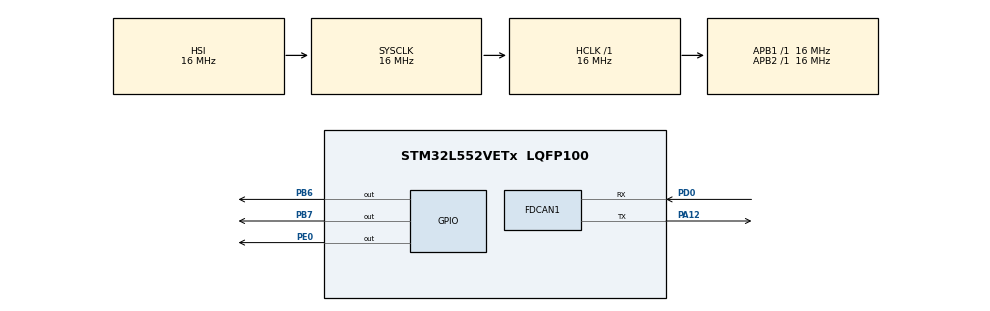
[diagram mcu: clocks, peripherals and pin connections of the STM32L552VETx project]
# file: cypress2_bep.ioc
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FDCAN1.DataSyncJumpWidth=8
FDCAN1.DataTimeSeg1=20
FDCAN1.FrameFormat=FDCAN_FRAME_FD_BRS
FDCAN1.Mode=FDCAN_MODE_EXTERNAL_LOOPBACK
FDCAN1.NominalPrescaler=2
FDCAN1.NominalSyncJumpWidth=8
FDCAN1.NominalTimeSeg1=20
FDCAN1.NominalTimeSeg2=20
FREERTOS.BinarySemaphores01=CanRXSem,Dynamic,NULL
FREERTOS.Tasks01=defaultTask,24,128,StartDefaultTask,Default,NULL,Dynamic,NULL,NULL
FREERTOS.Timers01=CanTimer,CanTimerFunc,osTimerPeriodic,Default,NULL,Dynamic,NULL
FREERTOS.configENABLE_FPU=1
FREERTOS.configUSE_IDLE_HOOK=1
FREERTOS.configUSE_TICK_HOOK=1
Mcu.Family=STM32L5
Mcu.Name=STM32L552VETx
Mcu.Package=LQFP100
NVIC.FDCAN1_IT0_IRQn=true\:0\:0\:false\:false\:true\:false\:true\:true
NVIC.FDCAN1_IT1_IRQn=true\:0\:0\:false\:false\:true\:false\:true\:true
NVIC.PriorityGroup=NVIC_PRIORITYGROUP_3
NVIC.TIM3_IRQn=true\:0\:0\:false\:false\:true\:true\:true\:true
PA12.Mode=FDCANFD
PA12.Signal=FDCAN1_TX
PA13\ (JTMS/SWDIO).Mode=Trace_Asynchronous_SW
PA13\ (JTMS/SWDIO).Signal=DEBUG_JTMS-SWDIO
PA14\ (JTCK/SWCLK).Mode=Trace_Asynchronous_SW
PA14\ (JTCK/SWCLK).Signal=DEBUG_JTCK-SWCLK
PB3\ (JTDO/TRACESWO).Mode=Trace_Asynchronous_SW
PB3\ (JTDO/TRACESWO).Signal=DEBUG_JTDO-SWO
PB6.Signal=GPIO_Output
PB7.Signal=GPIO_Output
PD0.Mode=FDCANFD
PD0.Signal=FDCAN1_RX
PE0.Signal=GPIO_Output
PH0-OSC_IN\ (PH0).Mode=HSE-External-Oscillator
PH0-OSC_IN\ (PH0).Signal=RCC_OSC_IN
PH1-OSC_OUT\ (PH1).Mode=HSE-External-Oscillator
PH1-OSC_OUT\ (PH1).Signal=RCC_OSC_OUT
ProjectManager.HeapSize=0x200
ProjectManager.StackSize=0x400
ProjectManager.TargetToolchain=STM32CubeIDE
RCC.ADCFreq_Value=96000000
RCC.AHBFreq_Value=16000000
RCC.APB1Freq_Value=16000000
RCC.APB1TimFreq_Value=16000000
RCC.APB2Freq_Value=16000000
RCC.APB2TimFreq_Value=16000000
RCC.CortexFreq_Value=16000000
RCC.HCLKFreq_Value=16000000
RCC.HSE_VALUE=24000000
RCC.HSI48_VALUE=48000000
RCC.HSI_VALUE=16000000
RCC.LSE_VALUE=32768
RCC.MSI_VALUE=4000000
RCC.PLLM=2
RCC.PLLQ=RCC_PLLQ_DIV4
RCC.PLLSAI1Source=RCC_PLLSAI1SOURCE_HSE
RCC.PLLSAI2Source=RCC_PLLSAI2SOURCE_HSE
RCC.PLLSourceVirtual=RCC_PLLSOURCE_HSI
RCC.SYSCLKFreq_VALUE=16000000
RCC.SYSCLKSource=RCC_SYSCLKSOURCE_HSI
RCC.USBFreq_Value=96000000
RCC.VCOOutputFreq_Value=64000000
VP_FREERTOS_VS_CMSIS_V2.Mode=CMSIS_V2
VP_PWR_VS_DBSignals.Mode=DisableDeadBatterySignals
VP_TIM3_VS_ClockSourceINT.Mode=Internal
VP_TIM3_VS_ClockSourceITR.Mode=TriggerSource_ITR0
board=custom

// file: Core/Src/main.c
/* USER CODE BEGIN Header */
/**
  ******************************************************************************
  * @file           : main.c
  * @brief          : Main program body
  ******************************************************************************
  * @attention
  *
  * <h2><center>&copy; Copyright (c) 2020 STMicroelectronics.
  * All rights reserved.</center></h2>
  *
  * This software component is licensed by ST under BSD 3-Clause license,
  * the "License"; You may not use this file except in compliance with the
  * License. You may obtain a copy of the License at:
  *                        opensource.org/licenses/BSD-3-Clause
  *
  ******************************************************************************
  */
/* USER CODE END Header */
#include <stdio.h>
#include "main.h"
#include "cmsis_os.h"
//#define CAN_TIMER

/* USER CODE BEGIN PM */
int _write(int32_t file, uint8_t *ptr, int32_t len)
{
	for (int i = 0; i < len; i++)
	{
		ITM_SendChar(*ptr++);
	}
	return len;
}
/* USER CODE END PM */

FDCAN_HandleTypeDef hfdcan1;

TIM_HandleTypeDef htim3;

FDCAN_TxHeaderTypeDef txHeader;
uint8_t txData[8] = { 0 };

/* Definitions for defaultTask */

/* Definitions for CanTimer */
osTimerId_t CanTimerHandle;
const osTimerAttr_t CanTimer_attributes = {
  .name = "CanTimer"
};

/* Definitions for CanTXSem */
osSemaphoreId_t CanTXSemHandle;
const osSemaphoreAttr_t CanTXSem_attributes = {
  .name = "CanTXSem"
};

/* Definitions for CanRXSem */
osSemaphoreId_t CanRXSemHandle;
const osSemaphoreAttr_t CanRXSem_attributes = {
  .name = "CanRXSem"
};
/* USER CODE BEGIN PV */
osThreadId_t cypress2TaskHandle;
const osThreadAttr_t cypress2Task_attributes = {
  .name = "cypress2Task",
  .priority = (osPriority_t) osPriorityNormal1,
  .stack_size = 128 * 5
};

osThreadId_t ateCmdsTaskHandle;
const osThreadAttr_t ateCmdsTask_attributes = {
  .name = "ateCmdsTask",
  .priority = (osPriority_t) osPriorityNormal,
  .stack_size = 128 * 5
};
/* USER CODE END PV */

void SystemClock_Config(void);
static void MX_GPIO_Init(void);
static void MX_FDCAN1_Init(void);
#ifdef HW_TIMER
static void MX_TIM3_Init(void);
#endif
void StartDefaultTask(void *argument);
void CanTimerFunc(void *argument);

/* USER CODE BEGIN 0 */
void Cypress2Task(void *argument);
void ATECmdsTask(void *argument);

/* USER CODE END 0 */

int main(void)
{

  /* MCU Configuration--------------------------------------------------------*/

  /* Reset of all peripherals, Initializes the Flash interface and the Systick. */
  HAL_Init();

  /* Configure the system clock */
  SystemClock_Config();

  /* Initialize all configured peripherals */
  MX_GPIO_Init();
  MX_FDCAN1_Init();
#ifdef HW_TIMER
  MX_TIM3_Init();
#endif
  /* USER CODE BEGIN 2 */
//  printf("Init completed.\n");
  /* USER CODE END 2 */

  /* Init scheduler */
  osKernelInitialize();

  /* Create the semaphores(s) */
  /* creation of CanRXSem */
  CanRXSemHandle = osSemaphoreNew(1, 0, &CanRXSem_attributes);
  /* creation of CanRXSem */
  CanTXSemHandle = osSemaphoreNew(1, 0, &CanTXSem_attributes);

  /* Create the timer(s) */
  /* creation of CanTimer */
#ifdef SW_TIMER
  CanTimerHandle = osTimerNew(CanTimerFunc, osTimerPeriodic, NULL, &CanTimer_attributes);
#endif

  /* Create the thread(s) */
  /* creation of defaultTask */

  /* USER CODE BEGIN RTOS_THREADS */
  /* add threads, ... */
  cypress2TaskHandle = osThreadNew(Cypress2Task, NULL, &cypress2Task_attributes);
  ateCmdsTaskHandle = osThreadNew(ATECmdsTask, NULL, &ateCmdsTask_attributes);
  /* USER CODE END RTOS_THREADS */

  /* Start scheduler */
  osKernelStart();

  /* We should never get here as control is now taken by the scheduler */
  /* Infinite loop */
  while (1)
  {

  }
}

void SystemClock_Config(void)
{
  RCC_OscInitTypeDef RCC_OscInitStruct = {0};
  RCC_ClkInitTypeDef RCC_ClkInitStruct = {0};

  /** Configure the main internal regulator output voltage
  */
  if (HAL_PWREx_ControlVoltageScaling(PWR_REGULATOR_VOLTAGE_SCALE2) != HAL_OK)
  {
    Error_Handler();
  }
  /** Initializes the RCC Oscillators according to the specified parameters
  * in the RCC_OscInitTypeDef structure.
  */
  RCC_OscInitStruct.OscillatorType = RCC_OSCILLATORTYPE_HSI;
  RCC_OscInitStruct.HSIState = RCC_HSI_ON;
  RCC_OscInitStruct.HSICalibrationValue = RCC_HSICALIBRATION_DEFAULT;
  RCC_OscInitStruct.PLL.PLLState = RCC_PLL_ON;
  RCC_OscInitStruct.PLL.PLLSource = RCC_PLLSOURCE_HSI;
  RCC_OscInitStruct.PLL.PLLM = 2;
  RCC_OscInitStruct.PLL.PLLN = 8;
  RCC_OscInitStruct.PLL.PLLP = RCC_PLLP_DIV7;
  RCC_OscInitStruct.PLL.PLLQ = RCC_PLLQ_DIV8;
  RCC_OscInitStruct.PLL.PLLR = RCC_PLLR_DIV2;
  if (HAL_RCC_OscConfig(&RCC_OscInitStruct) != HAL_OK)
  {
    Error_Handler();
  }
  /** Initializes the CPU, AHB and APB buses clocks
  */
  RCC_ClkInitStruct.ClockType = RCC_CLOCKTYPE_HCLK|RCC_CLOCKTYPE_SYSCLK
                              |RCC_CLOCKTYPE_PCLK1|RCC_CLOCKTYPE_PCLK2;
  RCC_ClkInitStruct.SYSCLKSource = RCC_SYSCLKSOURCE_HSI;
  RCC_ClkInitStruct.AHBCLKDivider = RCC_SYSCLK_DIV1;
  RCC_ClkInitStruct.APB1CLKDivider = RCC_HCLK_DIV1;
  RCC_ClkInitStruct.APB2CLKDivider = RCC_HCLK_DIV1;

  if (HAL_RCC_ClockConfig(&RCC_ClkInitStruct, FLASH_LATENCY_1) != HAL_OK)
  {
    Error_Handler();
  }
}

static void MX_FDCAN1_Init(void)
{

  hfdcan1.Instance = FDCAN1;
  hfdcan1.Init.FrameFormat = FDCAN_FRAME_CLASSIC;
  hfdcan1.Init.Mode = FDCAN_MODE_NORMAL;
  hfdcan1.Init.AutoRetransmission = DISABLE;
  hfdcan1.Init.TransmitPause = DISABLE;
  hfdcan1.Init.ProtocolException = DISABLE;
  hfdcan1.Init.NominalPrescaler = 4;
  hfdcan1.Init.NominalSyncJumpWidth = 1;
  hfdcan1.Init.NominalTimeSeg1 = 4;
  hfdcan1.Init.NominalTimeSeg2 = 3;
  hfdcan1.Init.DataPrescaler = 32;
  hfdcan1.Init.DataSyncJumpWidth = 0;
  hfdcan1.Init.DataTimeSeg1 = 0;
  hfdcan1.Init.DataTimeSeg2 = 0;
  hfdcan1.Init.StdFiltersNbr = 0;
  hfdcan1.Init.ExtFiltersNbr = 0;
  hfdcan1.Init.TxFifoQueueMode = FDCAN_TX_FIFO_OPERATION;
  if (HAL_FDCAN_Init(&hfdcan1) != HAL_OK)
  {
    Error_Handler();
  }
  /* USER CODE BEGIN FDCAN1_Init 2 */
	HAL_FDCAN_ConfigInterruptLines(&hfdcan1, 0xFFFFFFFF, FDCAN_INTERRUPT_LINE1);

    if (HAL_FDCAN_ActivateNotification(&hfdcan1, 0x3FFFFFFF, 0) != HAL_OK) {
	//if (HAL_FDCAN_ActivateNotification(&hfdcan1, FDCAN_IT_GROUP_RX_FIFO0 |
  	//	  FDCAN_IT_GROUP_TX_FIFO_ERROR | FDCAN_IT_GROUP_SMSG, 0) != HAL_OK) {
		/* Notification Error */
		Error_Handler();
	}
  if (HAL_FDCAN_Start(&hfdcan1) != HAL_OK) {
  		Error_Handler();
  }
  /* USER CODE END FDCAN1_Init 2 */

}

#ifdef HW_TIMER
static void MX_TIM3_Init(void)
{

  TIM_ClockConfigTypeDef sClockSourceConfig = {0};
  TIM_SlaveConfigTypeDef sSlaveConfig = {0};
  TIM_MasterConfigTypeDef sMasterConfig = {0};

  htim3.Instance = TIM3;
  htim3.Init.Prescaler = 24 * 100;
  htim3.Init.CounterMode = TIM_COUNTERMODE_UP;
  htim3.Init.Period = 10000;
  htim3.Init.ClockDivision = TIM_CLOCKDIVISION_DIV1;
  htim3.Init.AutoReloadPreload = TIM_AUTORELOAD_PRELOAD_DISABLE;
  if (HAL_TIM_Base_Init(&htim3) != HAL_OK)
  {
    Error_Handler();
  }
  sClockSourceConfig.ClockSource = TIM_CLOCKSOURCE_INTERNAL;
  if (HAL_TIM_ConfigClockSource(&htim3, &sClockSourceConfig) != HAL_OK)
  {
    Error_Handler();
  }
  sSlaveConfig.SlaveMode = TIM_SLAVEMODE_DISABLE;
  sSlaveConfig.InputTrigger = TIM_TS_ITR0;
  if (HAL_TIM_SlaveConfigSynchro(&htim3, &sSlaveConfig) != HAL_OK)
  {
    Error_Handler();
  }
  sMasterConfig.MasterOutputTrigger = TIM_TRGO_RESET;
  sMasterConfig.MasterSlaveMode = TIM_MASTERSLAVEMODE_DISABLE;
  if (HAL_TIMEx_MasterConfigSynchronization(&htim3, &sMasterConfig) != HAL_OK)
  {
    Error_Handler();
  }
  /* USER CODE BEGIN TIM3_Init 2 */
	if (HAL_TIM_Base_Start_IT(&htim3) != HAL_OK) {
		Error_Handler();
	}
  /* USER CODE END TIM3_Init 2 */

}
#endif
static void MX_GPIO_Init(void)
{
  GPIO_InitTypeDef GPIO_InitStruct = {0};

  /* GPIO Ports Clock Enable */
  __HAL_RCC_GPIOH_CLK_ENABLE();
  __HAL_RCC_GPIOA_CLK_ENABLE();
  __HAL_RCC_GPIOD_CLK_ENABLE();
  __HAL_RCC_GPIOB_CLK_ENABLE();
  __HAL_RCC_GPIOE_CLK_ENABLE();

  /*Configure GPIO pin Output Level */
  HAL_GPIO_WritePin(GPIOB, GPIO_PIN_6|GPIO_PIN_7, GPIO_PIN_SET);

  /*Configure GPIO pin Output Level */
  HAL_GPIO_WritePin(GPIOE, GPIO_PIN_0, GPIO_PIN_SET);

  /*Configure GPIO pins : PB6 PB7 */
  GPIO_InitStruct.Pin = GPIO_PIN_6|GPIO_PIN_7;
  GPIO_InitStruct.Mode = GPIO_MODE_OUTPUT_PP;
  GPIO_InitStruct.Pull = GPIO_NOPULL;
  GPIO_InitStruct.Speed = GPIO_SPEED_FREQ_LOW;
  HAL_GPIO_Init(GPIOB, &GPIO_InitStruct);

  /*Configure GPIO pin : PE0 */
  GPIO_InitStruct.Pin = GPIO_PIN_0;
  GPIO_InitStruct.Mode = GPIO_MODE_OUTPUT_PP;
  GPIO_InitStruct.Pull = GPIO_NOPULL;
  GPIO_InitStruct.Speed = GPIO_SPEED_FREQ_LOW;
  HAL_GPIO_Init(GPIOE, &GPIO_InitStruct);

}

/* USER CODE BEGIN 4 */
#if 0
void StartDefaultTask(void *argument)
{
  /* USER CODE BEGIN 5 */
  /* Infinite loop */
  for(;;)
  {
    osDelay(1);
  }
  /* USER CODE END 5 */
}
#endif
/* USER CODE END 4 */

void Cypress2Task(void *argument)
{
  /* USER CODE BEGIN 5 */
  /* Infinite loop */
	txHeader.Identifier = 0x123;
	txHeader.IdType = FDCAN_STANDARD_ID;
	txHeader.TxFrameType = FDCAN_DATA_FRAME;
	txHeader.DataLength = FDCAN_DLC_BYTES_8;
	txHeader.ErrorStateIndicator = FDCAN_ESI_ACTIVE;
	txHeader.BitRateSwitch = FDCAN_BRS_OFF;
	txHeader.FDFormat = FDCAN_CLASSIC_CAN;
	txHeader.TxEventFifoControl = FDCAN_NO_TX_EVENTS;
	txHeader.MessageMarker = 0;
#ifdef SW_TIMER
	osTimerStart(CanTimerHandle,pdMS_TO_TICKS(1000));
#endif
#if defined SW_TIMER || defined HW_TIMER
	uint32_t id = 0;
#endif
	for (;;) {
#if defined SW_TIMER || defined HW_TIMER
		if (osSemaphoreAcquire(CanTXSemHandle, pdMS_TO_TICKS(2500)) == osOK) {
			txData[0] = id++;
//			HAL_FDCAN_AddMessageToTxFifoQ(&hfdcan1, &txHeader, txData);
		}
#endif
		osDelay(10);
	}

  /* USER CODE END 5 */
}

#ifndef CAN_POLLING
void HAL_FDCAN_TxEventFifoCallback(FDCAN_HandleTypeDef *hfdcan, uint32_t TxEventFifoITs)
 {
	if (hfdcan == &hfdcan1) //CANFD1中断
			{
		printf("HAL_FDCAN_TxEventFifoCallback\n");
	}
}
void HAL_FDCAN_TxFifoEmptyCallback(FDCAN_HandleTypeDef *hfdcan)
{
	if (hfdcan == &hfdcan1) //CANFD1中断
				{
			printf("HAL_FDCAN_TxFifoEmptyCallback\n");
		}
}
void HAL_FDCAN_RxFifo0Callback(FDCAN_HandleTypeDef *hfdcan, uint32_t RxFifo0ITs)
{
  if((RxFifo0ITs & FDCAN_IT_RX_FIFO0_NEW_MESSAGE)!=RESET)   //FIFO1新数据中断
  {
    if(hfdcan == &hfdcan1)//CANFD1中断
    {
//      HAL_FDCAN_GetRxMessage(&hfdcan1,FDCAN_RX_FIFO0,&FDCAN1_RxHeader,canbuf_Rec);
//      CANFD1_Rce_Flag=1;
      HAL_FDCAN_ActivateNotification(&hfdcan1,FDCAN_IT_GROUP_RX_FIFO0 |
    		  FDCAN_IT_LIST_TX_FIFO_ERROR | FDCAN_IT_GROUP_SMSG,0);
      osSemaphoreRelease(CanRXSemHandle);
    }
  }
}
#endif

void ATECmdsTask(void *argument)
{
  /* USER CODE BEGIN 5 */
  /* Infinite loop */
  for(;;)
  {
		FDCAN_RxHeaderTypeDef rxHeader;
		uint8_t rxData[8];
#ifdef CAN_POLLING
			if (HAL_FDCAN_GetRxFifoFillLevel(&hfdcan1, FDCAN_RX_FIFO0) > 2
					&& HAL_FDCAN_GetRxMessage(&hfdcan1, FDCAN_RX_FIFO0,
							&rxHeader, rxData) == HAL_OK) {
							HAL_GPIO_TogglePin(GPIOB, GPIO_PIN_7);
			}
#else
			if (osSemaphoreAcquire(CanRXSemHandle, pdMS_TO_TICKS(2500))
					== osOK) {
#if defined SW_TIMER || defined HW_TIMER
				if (HAL_FDCAN_GetRxFifoFillLevel(&hfdcan1, FDCAN_RX_FIFO0) > 2
						&& HAL_FDCAN_GetRxMessage(&hfdcan1, FDCAN_RX_FIFO0,
								&rxHeader, rxData) == HAL_OK)
#endif
				{
					HAL_GPIO_TogglePin(GPIOB, GPIO_PIN_7);
				}
			}
#endif
			osDelay(10);
		}
  /* USER CODE END 5 */
}

#ifdef SW_TIMER
/* CanTimerFunc function */
void CanTimerFunc(void *argument)
{
  /* USER CODE BEGIN CanTimerFunc */
	osSemaphoreRelease(CanTXSemHandle);
  /* USER CODE END CanTimerFunc */
}
#endif
void Error_Handler(void)
{
}

/************************ (C) COPYRIGHT STMicroelectronics *****END OF FILE****/

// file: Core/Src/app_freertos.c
/* USER CODE BEGIN Header */
/**
  ******************************************************************************
  * File Name          : app_freertos.c
  * Description        : Code for freertos applications
  ******************************************************************************
  * @attention
  *
  * <h2><center>&copy; Copyright (c) 2020 STMicroelectronics.
  * All rights reserved.</center></h2>
  *
  * This software component is licensed by ST under Ultimate Liberty license
  * SLA0044, the "License"; You may not use this file except in compliance with
  * the License. You may obtain a copy of the License at:
  *                             www.st.com/SLA0044
  *
  ******************************************************************************
  */
/* USER CODE END Header */

#include "FreeRTOS.h"
#include "task.h"
#include "main.h"

/* Hook prototypes */
void vApplicationIdleHook(void);
void vApplicationTickHook(void);

/* USER CODE BEGIN 2 */
__weak void vApplicationIdleHook( void )
{
   /* vApplicationIdleHook() will only be called if configUSE_IDLE_HOOK is set
   to 1 in FreeRTOSConfig.h. It will be called on each iteration of the idle
   task. It is essential that code added to this hook function never attempts
   to block in any way (for example, call xQueueReceive() with a block time
   specified, or call vTaskDelay()). If the application makes use of the
   vTaskDelete() API function (as this demo application does) then it is also
   important that vApplicationIdleHook() is permitted to return to its calling
   function, because it is the responsibility of the idle task to clean up
   memory allocated by the kernel to any task that has since been deleted. */
}
/* USER CODE END 2 */

/* USER CODE BEGIN 3 */
__weak void vApplicationTickHook( void )
{
   /* This function will be called by each tick interrupt if
   configUSE_TICK_HOOK is set to 1 in FreeRTOSConfig.h. User code can be
   added here, but the tick hook is called from an interrupt context, so
   code must not attempt to block, and only the interrupt safe FreeRTOS API
   functions can be used (those that end in FromISR()). */
}
/* USER CODE END 3 */

/************************ (C) COPYRIGHT STMicroelectronics *****END OF FILE****/
